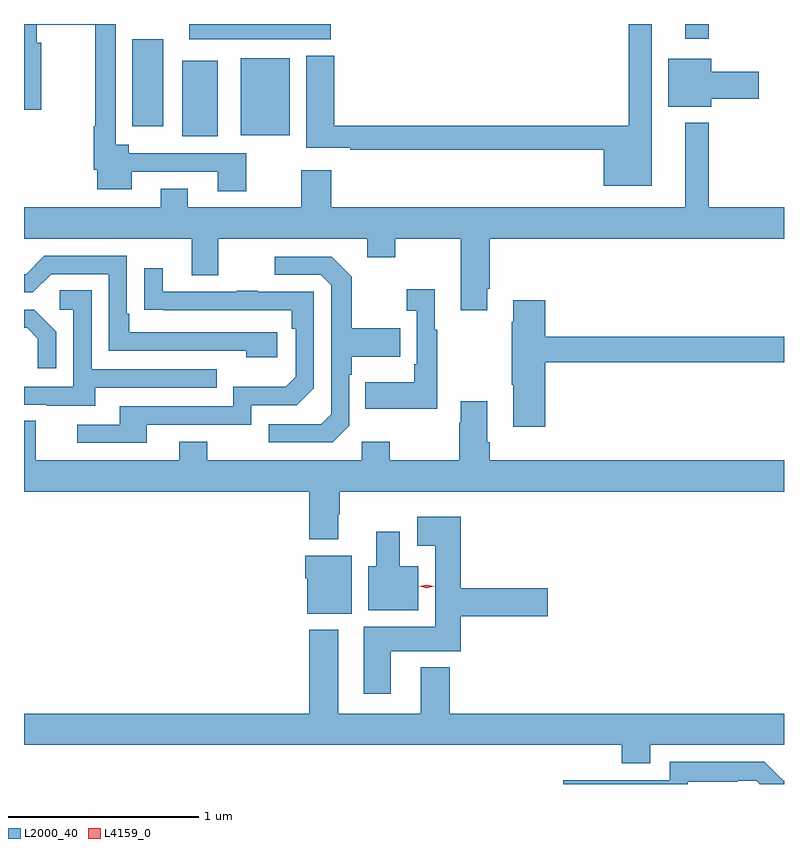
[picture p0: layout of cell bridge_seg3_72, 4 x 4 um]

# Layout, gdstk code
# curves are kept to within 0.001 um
import gdstk
lib = gdstk.Library(unit=1e-6, precision=1e-09)
def R(c, l, rs):  # rectangles x0, y0, x1, y1
    for r in rs: c.add(gdstk.rectangle(r[:2], r[2:], *l))
def P(c, l, *ps):  # polygons
    for p in ps: c.add(gdstk.Polygon(p, *l))
L2000_40 = (2000, 40)
L4159_0 = (4159, 0)

bridge_seg3_72 = lib.new_cell('bridge_seg3_72')
R(bridge_seg3_72, L2000_40, [(374.486,685.469,374.674,685.867), (374.795,685.475,375.052,685.882), (374.225,685.524,374.386,685.981), (374.523,685.98,375.268,686.061), (377.135,685.983,377.257,686.061)])
P(bridge_seg3_72, L2000_40, [(374.823,685.38),(374.206,685.38),(374.206,685.426),(374.136,685.426),(374.136,686.061),(373.654,686.061),(373.654,685.611),(373.746,685.611),(373.746,685.963),(373.72,685.963),(373.72,686.056),(374.028,686.056),(374.028,685.522),(374.02,685.522),(374.02,685.294),(374.039,685.294),(374.039,685.19),(374.221,685.19),(374.221,685.284),(374.675,685.284),(374.675,685.182),(374.823,685.182)],
  [(376.957,686.061),(376.836,686.061),(376.836,685.526),(375.287,685.526),(375.287,685.895),(375.14,685.895),(375.14,685.41),(375.37,685.41),(375.37,685.398),(376.706,685.398),(376.706,685.211),(376.957,685.211)],
  [(377.272,685.667),(377.521,685.667),(377.521,685.809),(377.272,685.809),(377.272,685.879),(377.045,685.879),(377.045,685.625),(377.272,685.625)],
  [(374.515,685.195),(374.375,685.195),(374.375,685.096),(373.654,685.096),(373.654,684.932),(374.537,684.932),(374.537,684.738),(374.677,684.738),(374.677,684.932),(375.461,684.932),(375.461,684.833),(375.609,684.833),(375.609,684.932),(375.953,684.932),(375.953,684.555),(376.093,684.555),(376.093,684.667),(376.106,684.667),(376.106,684.932),(377.654,684.932),(377.654,685.096),(377.257,685.096),(377.257,685.54),(377.135,685.54),(377.135,685.096),(375.272,685.096),(375.272,685.291),(375.112,685.291),(375.112,685.096),(374.515,685.096)],
  [(374.986,684.438),(374.209,684.438),(374.209,684.535),(374.196,684.535),(374.196,684.84),(373.761,684.84),(373.665,684.744),(373.654,684.744),(373.654,684.648),(373.701,684.648),(373.797,684.744),(374.1,684.744),(374.1,684.342),(374.825,684.342),(374.825,684.308),(374.986,684.308)],
  [(375.366,683.946),(375.366,684.215),(375.379,684.215),(375.379,684.311),(375.635,684.311),(375.635,684.459),(375.379,684.459),(375.379,684.731),(375.273,684.837),(374.973,684.837),(374.973,684.741),(375.216,684.741),(375.27,684.687),(375.27,684.006),(375.219,683.955),(374.943,683.955),(374.943,683.859),(375.279,683.859)],
  [(374.299,683.952),(374.85,683.952),(374.85,684.054),(375.09,684.054),(375.18,684.144),(375.18,684.651),(374.885,684.651),(374.885,684.656),(374.773,684.656),(374.773,684.651),(374.383,684.651),(374.383,684.775),(374.287,684.775),(374.287,684.556),(375.064,684.555),(375.064,684.458),(375.084,684.458),(375.084,684.204),(375.031,684.151),(374.754,684.151),(374.754,684.048),(374.159,684.048),(374.159,683.952),(373.935,683.952),(373.935,683.856),(374.299,683.856)],
  [(375.829,684.451),(375.817,684.451),(375.817,684.664),(375.669,684.664),(375.669,684.551),(375.72,684.551),(375.72,684.271),(375.708,684.271),(375.708,684.175),(375.451,684.175),(375.451,684.035),(375.829,684.035)],
  [(374.029,684.147),(374.669,684.147),(374.669,684.243),(374.01,684.243),(374.01,684.659),(373.842,684.659),(373.842,684.558),(373.914,684.558),(373.914,684.153),(373.654,684.153),(373.654,684.057),(373.775,684.057),(373.775,684.053),(374.029,684.053)],
  [(376.397,684.28),(377.654,684.28),(377.654,684.416),(376.397,684.416),(376.397,684.607),(376.229,684.607),(376.229,684.494),(376.222,684.494),(376.222,684.163),(376.229,684.163),(376.229,683.94),(376.397,683.94)],
  [(373.824,684.442),(373.708,684.558),(373.654,684.558),(373.654,684.462),(373.67,684.462),(373.727,684.405),(373.727,684.249),(373.824,684.249)],
  [(375.307,683.48),(375.315,683.48),(375.315,683.6),(377.654,683.6),(377.654,683.764),(376.106,683.764),(376.106,683.86),(376.093,683.86),(376.093,684.076),(375.953,684.076),(375.953,683.963),(375.946,683.963),(375.946,683.764),(375.579,683.764),(375.579,683.863),(375.432,683.863),(375.432,683.764),(374.619,683.764),(374.619,683.863),(374.471,683.863),(374.471,683.764),(373.717,683.764),(373.717,683.972),(373.654,683.972),(373.654,683.6),(375.155,683.6),(375.155,683.348),(375.307,683.348)],
  [(375.583,682.76),(375.953,682.76),(375.953,682.943),(376.411,682.943),(376.411,683.09),(375.953,683.09),(375.953,683.467),(375.723,683.467),(375.723,683.315),(375.818,683.315),(375.818,682.888),(375.443,682.888),(375.443,682.536),(375.583,682.536)],
  [(375.73,683.206),(375.631,683.206),(375.631,683.389),(375.509,683.389),(375.509,683.206),(375.467,683.206),(375.467,682.976),(375.73,682.976)],
  [(375.379,683.263),(375.134,683.263),(375.134,683.145),(375.146,683.145),(375.146,682.958),(375.379,682.958)],
  [(376.951,682.268),(377.654,682.268),(377.654,682.432),(375.896,682.432),(375.896,682.675),(375.743,682.675),(375.743,682.432),(375.307,682.432),(375.307,682.873),(375.155,682.873),(375.155,682.432),(373.654,682.432),(373.654,682.268),(376.799,682.268),(376.799,682.169),(376.951,682.169)],
  [(377.148,682.073),(377.411,682.073),(377.411,682.077),(377.511,682.077),(377.527,682.061),(377.654,682.061),(377.654,682.077),(377.649,682.077),(377.549,682.177),(377.052,682.177),(377.052,682.08),(376.491,682.08),(376.491,682.061),(377.148,682.061)])
P(bridge_seg3_72, L4159_0, [(375.775,683.091),(375.735,683.101),(375.735,683.101),(375.735,683.101),(375.774,683.111),(375.814,683.102),(375.814,683.101),(375.814,683.101)])

lib.write_gds('bridge_seg3_72.gds')
